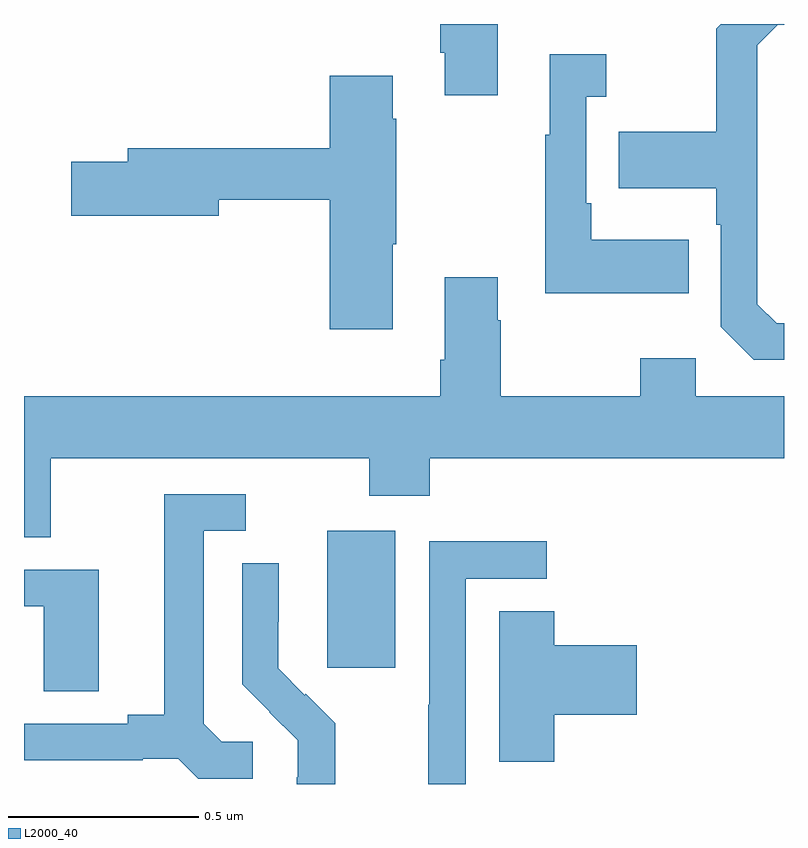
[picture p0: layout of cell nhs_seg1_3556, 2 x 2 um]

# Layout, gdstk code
import gdstk
lib = gdstk.Library(unit=1e-6, precision=1e-09)
def R(c, l, rs):  # rectangles x0, y0, x1, y1
    for r in rs: c.add(gdstk.rectangle(r[:2], r[2:], *l))
def P(c, l, *ps):  # polygons
    for p in ps: c.add(gdstk.Polygon(p, *l))
L2000_40 = (2000, 40)

nhs_seg1_3556 = lib.new_cell('nhs_seg1_3556')
R(nhs_seg1_3556, L2000_40, [(155.798,560.505,155.977,560.866)])
P(nhs_seg1_3556, L2000_40, [(156.247,562.199),(156.095,562.199),(156.095,562.123),(156.107,562.123),(156.107,562.011),(156.247,562.011)],
  [(157,561.411),(156.981,561.411),(156.93,561.462),(156.93,562.143),(156.984,562.197),(157,562.197),(157,562.199),(156.834,562.199),(156.822,562.187),(156.822,561.915),(156.565,561.915),(156.565,561.767),(156.822,561.767),(156.822,561.671),(156.834,561.671),(156.834,561.402),(156.921,561.315),(157,561.315)],
  [(156.749,561.631),(156.493,561.631),(156.493,561.727),(156.48,561.727),(156.48,562.007),(156.532,562.007),(156.532,562.12),(156.383,562.12),(156.383,561.907),(156.372,561.907),(156.372,561.491),(156.749,561.491)],
  [(155.971,561.619),(155.979,561.619),(155.979,561.95),(155.971,561.95),(155.971,562.063),(155.804,562.063),(155.804,561.872),(155.273,561.872),(155.273,561.836),(155.124,561.836),(155.124,561.694),(155.512,561.694),(155.512,561.736),(155.804,561.736),(155.804,561.396),(155.971,561.396)],
  [(155.071,561.056),(155.908,561.056),(155.908,560.957),(156.068,560.957),(156.068,561.056),(157,561.056),(157,561.22),(156.768,561.22),(156.768,561.319),(156.622,561.319),(156.622,561.22),(156.255,561.22),(156.255,561.419),(156.247,561.419),(156.247,561.532),(156.107,561.532),(156.107,561.316),(156.095,561.316),(156.095,561.22),(155,561.22),(155,560.848),(155.071,560.848)],
  [(155.602,560.31),(155.52,560.31),(155.473,560.357),(155.473,560.865),(155.584,560.865),(155.584,560.961),(155.369,560.961),(155.369,560.381),(155.273,560.381),(155.273,560.358),(155,560.358),(155,560.262),(155.312,560.262),(155.312,560.265),(155.406,560.265),(155.458,560.213),(155.602,560.213)],
  [(156.162,560.739),(156.376,560.739),(156.376,560.838),(156.066,560.838),(156.066,560.408),(156.064,560.408),(156.064,560.199),(156.162,560.199)],
  [(155.819,560.359),(155.742,560.436),(155.739,560.433),(155.669,560.504),(155.669,560.626),(155.67,560.626),(155.67,560.78),(155.574,560.78),(155.574,560.462),(155.647,560.389),(155.646,560.388),(155.72,560.314),(155.72,560.217),(155.718,560.217),(155.718,560.199),(155.819,560.199)],
  [(155.197,560.763),(155,560.763),(155,560.667),(155.052,560.667),(155.052,560.443),(155.197,560.443)],
  [(156.395,560.381),(156.613,560.381),(156.613,560.564),(156.395,560.564),(156.395,560.654),(156.251,560.654),(156.251,560.257),(156.395,560.257)])

lib.write_gds('nhs_seg1_3556.gds')
